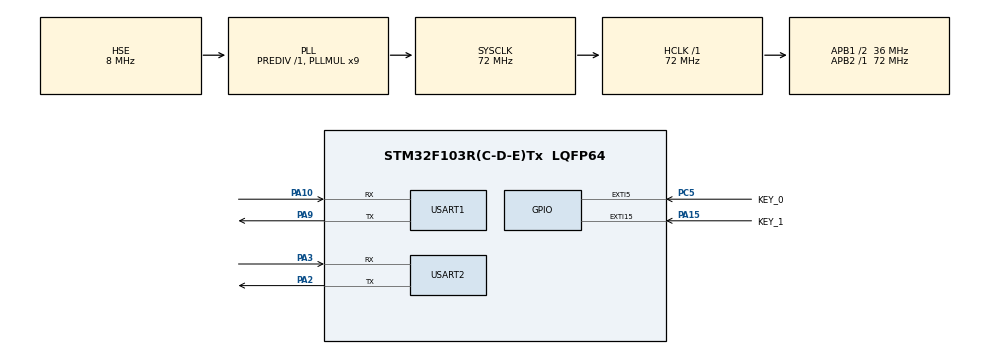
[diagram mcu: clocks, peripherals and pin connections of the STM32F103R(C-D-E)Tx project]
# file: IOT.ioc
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Mcu.Family=STM32F1
Mcu.Name=STM32F103R(C-D-E)Tx
Mcu.Package=LQFP64
NVIC.EXTI15_10_IRQn=true\:5\:0\:true\:false\:true\:true\:true
NVIC.EXTI9_5_IRQn=true\:5\:0\:true\:false\:true\:true\:true
NVIC.PriorityGroup=NVIC_PRIORITYGROUP_4
NVIC.USART2_IRQn=true\:3\:0\:true\:false\:true\:true\:true
PA10.Mode=Asynchronous
PA10.Signal=USART1_RX
PA13.Mode=Serial_Wire
PA13.Signal=SYS_JTMS-SWDIO
PA14.Mode=Serial_Wire
PA14.Signal=SYS_JTCK-SWCLK
PA15.GPIO_Label=KEY_1
PA15.GPIO_ModeDefaultEXTI=GPIO_MODE_IT_FALLING
PA15.Signal=GPXTI15
PA2.Mode=Asynchronous
PA2.Signal=USART2_TX
PA3.Mode=Asynchronous
PA3.Signal=USART2_RX
PA9.Mode=Asynchronous
PA9.Signal=USART1_TX
PC5.GPIO_Label=KEY_0
PC5.GPIO_ModeDefaultEXTI=GPIO_MODE_IT_FALLING
PC5.Signal=GPXTI5
PD0-OSC_IN.Mode=HSE-External-Oscillator
PD0-OSC_IN.Signal=RCC_OSC_IN
PD1-OSC_OUT.Mode=HSE-External-Oscillator
PD1-OSC_OUT.Signal=RCC_OSC_OUT
ProjectManager.HeapSize=0x200
ProjectManager.StackSize=0x400
ProjectManager.TargetToolchain=MDK-ARM V5
RCC.AHBFreq_Value=72000000
RCC.APB1CLKDivider=RCC_HCLK_DIV2
RCC.APB1Freq_Value=36000000
RCC.APB1TimFreq_Value=72000000
RCC.APB2Freq_Value=72000000
RCC.APB2TimFreq_Value=72000000
RCC.HCLKFreq_Value=72000000
RCC.PLLMUL=RCC_PLL_MUL9
RCC.PLLSourceVirtual=RCC_PLLSOURCE_HSE
RCC.SYSCLKFreq_VALUE=72000000
RCC.SYSCLKSource=RCC_SYSCLKSOURCE_PLLCLK
RCC.USBFreq_Value=72000000
USART1.VirtualMode=VM_ASYNC
USART2.VirtualMode=VM_ASYNC
board=custom

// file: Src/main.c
/* USER CODE BEGIN Header */
/**
  ******************************************************************************
  * @file           : main.c
  * @brief          : Main program body
  ******************************************************************************
  * @attention
  *
  * <h2><center>&copy; Copyright (c) 2021 STMicroelectronics.
  * All rights reserved.</center></h2>
  *
  * This software component is licensed by ST under BSD 3-Clause license,
  * the "License"; You may not use this file except in compliance with the
  * License. You may obtain a copy of the License at:
  *                        opensource.org/licenses/BSD-3-Clause
  *
  ******************************************************************************
  */
/* USER CODE END Header */

#include "main.h"
#include "usart.h"
#include "gpio.h"
#include "esp8266_at.h"
#include "esp8266_mqtt.h"
#include "string.h"
#include "stdio.h"

/* USER CODE BEGIN Includes */
#define WIFI_NAME "LIANG"
#define WIFI_PASSWD "liang0526"

#define MQTT_BROKERADDRESS "a16OKk6dTya.iot-as-mqtt.cn-shanghai.aliyuncs.com"
#define MQTT_CLIENTID "12345|securemode=3,signmethod=hmacsha1|"
#define MQTT_USARNAME "SAMA&a16OKk6dTya"
#define MQTT_PASSWD "04629D74064DC8ED55CE7656722490094705C38D"
#define	MQTT_PUBLISH_TOPIC "/sys/a16OKk6dTya/KAMI/thing/event/property/post"
//#define MQTT_SUBSCRIBE_TOPIC "/sys/a16OKk6dTya/KAMI/thing/event/property/post_reply"
#define MQTT_SUBSCRIBE_TOPIC "/a16OKk6dTya/SAMA/user/get"

#define LOOPTIME 30
#define HEARTBEAT   (5000/LOOPTIME)

#define USER_MAIN_DEBUG

#ifdef USER_MAIN_DEBUG
#define user_main_printf(format, ...) printf( format "\r\n",##__VA_ARGS__)
#define user_main_info(format, ...) printf("【main】info:" format "\r\n",##__VA_ARGS__)
#define user_main_debug(format, ...) printf("【main】debug:" format "\r\n",##__VA_ARGS__)
#define user_main_error(format, ...) printf("【main】error:" format "\r\n",##__VA_ARGS__)
#else
#define user_main_printf(format, ...)
#define user_main_info(format, ...)
#define user_main_debug(format, ...)
#define user_main_error(format, ...)
#endif
/* USER CODE END Includes */

/* USER CODE BEGIN PV */
extern uint8_t usart2_txbuf[256];
extern uint8_t usart2_rxbuf[512];
extern uint8_t usart2_rxone[1];
extern uint8_t usart2_rxcounter;
char mqtt_message[300];	//MQTT的上报消息缓存
/* USER CODE END PV */

void SystemClock_Config(void);
/* USER CODE BEGIN PFP */
void Enter_ErrorMode(uint8_t mode);
void MQTT_SendBuf(uint8_t *buf,uint16_t len);
uint8_t Find_Str(char* dest,char* src,uint16_t retry_nms);
/* USER CODE END PFP */

int main(void)
{

  /* MCU Configuration--------------------------------------------------------*/

  /* Reset of all peripherals, Initializes the Flash interface and the Systick. */
  HAL_Init();

  /* Configure the system clock */
  SystemClock_Config();

  /* Initialize all configured peripherals */
  MX_GPIO_Init();
  MX_USART1_UART_Init();
  MX_USART2_UART_Init();
  /* USER CODE BEGIN 2 */
HAL_UART_Receive_IT(&huart2,usart2_rxone,1);
  /* USER CODE END 2 */

  /* Infinite loop */
  /* USER CODE BEGIN WHILE */

  /* USER CODE END 3 */
  while(1)
  {
  }
}

void SystemClock_Config(void)
{
  RCC_OscInitTypeDef RCC_OscInitStruct = {0};
  RCC_ClkInitTypeDef RCC_ClkInitStruct = {0};

  /** Initializes the CPU, AHB and APB busses clocks
  */
  RCC_OscInitStruct.OscillatorType = RCC_OSCILLATORTYPE_HSE;
  RCC_OscInitStruct.HSEState = RCC_HSE_ON;
  RCC_OscInitStruct.HSEPredivValue = RCC_HSE_PREDIV_DIV1;
  RCC_OscInitStruct.HSIState = RCC_HSI_ON;
  RCC_OscInitStruct.PLL.PLLState = RCC_PLL_ON;
  RCC_OscInitStruct.PLL.PLLSource = RCC_PLLSOURCE_HSE;
  RCC_OscInitStruct.PLL.PLLMUL = RCC_PLL_MUL9;
  if (HAL_RCC_OscConfig(&RCC_OscInitStruct) != HAL_OK)
  {
    Error_Handler();
  }
  /** Initializes the CPU, AHB and APB busses clocks
  */
  RCC_ClkInitStruct.ClockType = RCC_CLOCKTYPE_HCLK|RCC_CLOCKTYPE_SYSCLK
                              |RCC_CLOCKTYPE_PCLK1|RCC_CLOCKTYPE_PCLK2;
  RCC_ClkInitStruct.SYSCLKSource = RCC_SYSCLKSOURCE_PLLCLK;
  RCC_ClkInitStruct.AHBCLKDivider = RCC_SYSCLK_DIV1;
  RCC_ClkInitStruct.APB1CLKDivider = RCC_HCLK_DIV2;
  RCC_ClkInitStruct.APB2CLKDivider = RCC_HCLK_DIV1;

  if (HAL_RCC_ClockConfig(&RCC_ClkInitStruct, FLASH_LATENCY_2) != HAL_OK)
  {
    Error_Handler();
  }
}

/* USER CODE BEGIN 4 */
void Enter_ErrorMode(uint8_t mode)
{
	while(1)
	{
		switch(mode){
			case 0:user_main_error("ESP8266初始化失败！\r\n");break;
			case 1:user_main_error("ESP8266连接热点失败！\r\n");break;
			case 2:user_main_error("ESP8266连接阿里云服务器失败！\r\n");break;
			case 3:user_main_error("ESP8266阿里云MQTT登陆失败！\r\n");break;
			case 4:user_main_error("ESP8266阿里云MQTT订阅主题失败！\r\n");break;
			default:user_main_info("Noting\r\n");break;
		}
		user_main_info("请重启开发板");
		HAL_Delay(200);
	}
}

void KEY0_Pressed(void)
{
	user_main_debug("我按下了KEY_0\r\n");
	uint8_t status=0;
	if(ESP8266_Init())
	{
		user_main_info("ESP8266初始化成功！\r\n");
		status++;
	}
	else Enter_ErrorMode(0);
	if(status==1)
	{
		if(ESP8266_ConnectAP(WIFI_NAME,WIFI_PASSWD))
		{
			user_main_info("ESP8266连接热点成功！\r\n");
			status++;
		}
		else Enter_ErrorMode(1);
	}
	if(status==2)
	{
		if(ESP8266_ConnectServer("TCP",MQTT_BROKERADDRESS,1883)!=0)
		{
			user_main_info("ESP8266连接阿里云服务器成功！\r\n");
			status++;
		}
		else Enter_ErrorMode(2);
	}
	if(status==3)
	{
		if(MQTT_Connect(MQTT_CLIENTID,MQTT_USARNAME,MQTT_PASSWD)!=0)
		{
			user_main_info("ESP8266阿里云MQTT登陆成功！\r\n");
			status++;
//			while (1)
//			{
//    /* USER CODE END WHILE */
//	  sprintf(mqtt_message,
//	"{\"params\":{\"ParkingState\":1}}");
//	  MQTT_PublishData(MQTT_PUBLISH_TOPIC,mqtt_message,0);
//				HAL_Delay(1000);
//			}
		}
		else Enter_ErrorMode(3);
	}
	if(status==4)
	{
		if(MQTT_SubscribeTopic(MQTT_SUBSCRIBE_TOPIC,0,1)!=0)
		{
			user_main_info("ESP8266阿里云MQTT订阅主题成功！\r\n");
			while(1)
			{
				uint16_t count=0;
				//char ch1[11]="a16OKk6dTya";
				//char ch2[2]=":0";
				while(count++<usart2_rxcounter)
					printf("%u:%c",count,usart2_rxbuf[count]);
				//if(Find_Str((char*)usart2_rxbuf,(char *)ch1,2000) != 0)
				if((char)usart2_rxbuf[48]=='1'){
					HAL_GPIO_WritePin(GPIOA, GPIO_PIN_8, GPIO_PIN_RESET);
					printf("I GOT IT!");
					HAL_Delay(1000);
			}
				if((char)usart2_rxbuf[48]=='0'){
					HAL_GPIO_WritePin(GPIOA, GPIO_PIN_8, GPIO_PIN_SET);
					printf("I GOT IT!");
					HAL_Delay(1000);
			}
//				if(Find_Str((char*)usart2_rxbuf,(char *)ch2,200) != 0){
//					HAL_GPIO_WritePin(GPIOA, GPIO_PIN_8, GPIO_PIN_SET);
//					HAL_Delay(1000);
//				}
				memset(usart2_rxbuf,0, 256);
				usart2_rxcounter = 0;
				HAL_Delay(1000);
			}

    /* USER CODE BEGIN 3 */
		}
	}
		else Enter_ErrorMode(4);
	}

void KEY1_Pressed(void)
{
	user_main_debug ("我按下了KEY_1\r\n");
}

void HAL_GPIO_EXTI_Callback(uint16_t GPIO_Pin)
{
	switch(GPIO_Pin)
	{
		case KEY_0_Pin:KEY0_Pressed();break;
		case KEY_1_Pin:KEY1_Pressed();break;
		default:break;
	}
}
uint8_t Find_Str(char* dest,char* src,uint16_t retry_nms)
{
	retry_nms/=10;                   //超时时间

	while(strstr(dest,src)==NULL && retry_nms)//等待串口接收完毕或超时退出
	{
		HAL_Delay(10);
		retry_nms--;
	}
	printf("time:%u\n",retry_nms);

	if(retry_nms) return 1;

	return 0;
}
void HAL_UART_RxCpltCallback(UART_HandleTypeDef *huart)
{

	if(huart->Instance==USART2)
	{
		usart2_rxbuf[usart2_rxcounter]=usart2_rxone[0];
		usart2_rxcounter++;
		HAL_UART_Receive_IT(&huart2,usart2_rxone,1);
	}
//	uint16_t count=0;
//	while(count++<usart2_rxcounter)
//		printf("%c",usart2_rxbuf[count]);
}

/* USER CODE END 4 */

void Error_Handler(void)
{
}

/************************ (C) COPYRIGHT STMicroelectronics *****END OF FILE****/
